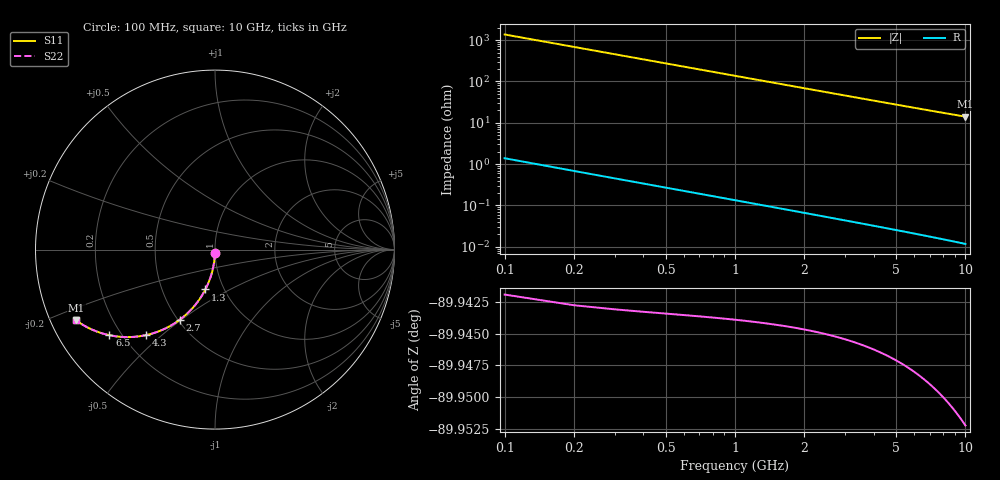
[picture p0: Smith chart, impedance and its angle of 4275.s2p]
# Hz S RI R 50.00
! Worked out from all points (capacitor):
!   100 points, 100 MHz to 10 GHz, reference 50 ohm
!   read as one part in shunt: C = 1.16 pF near 100 MHz
!   lowest |Z| = 14.1 ohm at 10 GHz (marker M1)
!   S11 on the Smith chart (normalised r, x): 100 MHz: 1.00, -0.04; 1.3 GHz: 0.82, -0.38; 2.7 GHz: 0.51, -0.49; 4.3 GHz: 0.29, -0.44; 6.5 GHz: 0.16, -0.35; 10 GHz: 0.07, -0.24
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1e8  -0.000266 -0.0181  0.9996 -0.0185  0.9996 -0.0185  -0.000266 -0.0181
2e8  -0.00128 -0.0361  0.9985 -0.037  0.9985 -0.037  -0.00128 -0.0361
3e8  -0.00297 -0.054  0.9969 -0.0554  0.9969 -0.0554  -0.00297 -0.054
4e8  -0.00531 -0.0719  0.9945 -0.0737  0.9945 -0.0737  -0.00531 -0.0719
5e8  -0.00829 -0.0896  0.9915 -0.0918  0.9915 -0.0918  -0.00829 -0.0896
6e8  -0.0119 -0.1071  0.9879 -0.1098  0.9879 -0.1098  -0.0119 -0.1071
7e8  -0.0162 -0.1244  0.9837 -0.1275  0.9837 -0.1275  -0.0162 -0.1244
8e8  -0.021 -0.1415  0.9788 -0.145  0.9788 -0.145  -0.021 -0.1415
1e9  -0.0325 -0.1747  0.9674 -0.1792  0.9674 -0.1792  -0.0325 -0.1747
1.3e9  -0.0536 -0.2221  0.9462 -0.2279  0.9462 -0.2279  -0.0536 -0.2221
1.5e9  -0.0702 -0.2517  0.9296 -0.2584  0.9296 -0.2584  -0.0702 -0.2517
1.8e9  -0.098 -0.293  0.9018 -0.301  0.9018 -0.301  -0.098 -0.293
2.2e9  -0.1396 -0.3413  0.8601 -0.3511  0.8601 -0.3511  -0.1396 -0.3413
2.7e9  -0.1965 -0.3909  0.8033 -0.403  0.8033 -0.403  -0.1965 -0.3909
3.4e9  -0.2795 -0.4407  0.7202 -0.4559  0.7202 -0.4559  -0.2795 -0.4407
4.3e9  -0.3832 -0.4761  0.6164 -0.4953  0.6164 -0.4953  -0.3832 -0.4761
5.1e9  -0.4667 -0.4869  0.5328 -0.5099  0.5328 -0.5099  -0.4667 -0.4869
6.5e9  -0.5879 -0.477  0.4115 -0.5063  0.4115 -0.5063  -0.5879 -0.477
6.7e9  -0.6026 -0.4736  0.3967 -0.5039  0.3967 -0.5039  -0.6026 -0.4736
7.5e9  -0.6557 -0.4575  0.3435 -0.4915  0.3435 -0.4915  -0.6557 -0.4575
8.4e9  -0.7056 -0.4359  0.2935 -0.4742  0.2935 -0.4742  -0.7056 -0.4359
1e10  -0.7736 -0.3946  0.2251 -0.4405  0.2251 -0.4405  -0.7736 -0.3946
